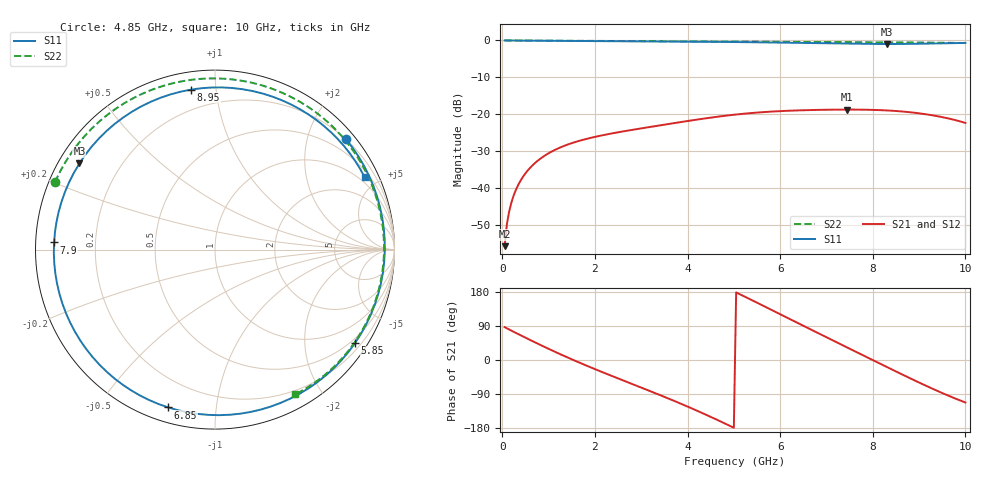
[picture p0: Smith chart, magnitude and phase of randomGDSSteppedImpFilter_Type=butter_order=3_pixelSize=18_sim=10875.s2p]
! freq	dB(S11)	phase(S11)	dB(S12)	phase(S12)
!  dB(S21)	phase(S21)	dB(S22)	phase(S22)
!S-par simulation data
#  GHz  S  DB  R 50
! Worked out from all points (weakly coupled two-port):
!   200 points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, 50 MHz to 10 GHz, reference 50 ohm
!   highest |S21| = -18.69 dB at 7.45 GHz (marker M1); lowest = -55.6 dB at 50 MHz (marker M2)
!   lowest |S11| = -1.0 dB at 8.3 GHz (marker M3), VSWR 18.05, Z = 3 + j14.5 ohm
!   |S11| at or under -10 dB: nowhere
!   |S22| runs from -0.7 to 0.0 dB; largest |S21 - S12| = 0
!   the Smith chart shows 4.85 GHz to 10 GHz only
!   S11 on the Smith chart (normalised r, x): 4.85 GHz: 0.19, +2.71; 5.85 GHz: 0.37, -3.25; 6.85 GHz: 0.07, -0.74; 7.9 GHz: 0.05, +0.02; 8.95 GHz: 0.09, +0.86; 10 GHz: 0.74, +4.23
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0.05  -0.00 -3.8  -55.64 86.7  -55.64 86.7  -0.00 -2.5
0.2  -0.02 -15.0  -43.67 77.2  -43.67 77.2  -0.02 -10.0
0.5  -0.05 -37.0  -35.94 58.9  -35.94 58.9  -0.04 -24.7
1.1  -0.10 -79.2  -29.82 23.7  -29.82 23.7  -0.07 -53.4
1.75  -0.15 -121.6  -26.84 -11.3  -26.84 -11.3  -0.11 -82.6
2.6  -0.19 -173.1  -24.62 -53.5  -24.62 -53.5  -0.15 -117.9
3.4  -0.25 138.4  -22.97 -92.3  -22.97 -92.3  -0.19 -148.7
4.15  -0.32 89.7  -21.50 -130.8  -21.50 -130.8  -0.24 -176.6
4.85  -0.40 40.3  -20.31 -170.0  -20.31 -170.0  -0.29 157.2
5.05  -0.43 25.6  -20.02 178.3  -20.02 178.3  -0.31 149.5
5.45  -0.49 -4.1  -19.55 154.3  -19.55 154.3  -0.34 134.0
5.85  -0.56 -33.8  -19.21 130.0  -19.21 130.0  -0.37 118.0
6.3  -0.64 -66.8  -18.95 102.5  -18.95 102.5  -0.40 99.3
6.7  -0.72 -95.7  -18.81 78.2  -18.81 78.2  -0.42 82.1
6.85  -0.75 -106.5  -18.77 69.1  -18.77 69.1  -0.43 75.5
7.45  -0.87 -149.6  -18.69 32.8  -18.69 32.8  -0.46 48.7
7.9  -0.94 177.5  -18.75 5.7  -18.75 5.7  -0.48 28.4
8.3  -0.96 147.6  -18.92 -18.3  -18.92 -18.3  -0.50 10.4
8.35  -0.96 143.8  -18.96 -21.3  -18.96 -21.3  -0.51 8.2
8.95  -0.90 98.6  -19.62 -56.6  -19.62 -56.6  -0.55 -18.0
9.4  -0.80 65.9  -20.49 -81.8  -20.49 -81.8  -0.60 -36.9
10  -0.67 25.9  -22.31 -112.1  -22.31 -112.1  -0.70 -61.0
